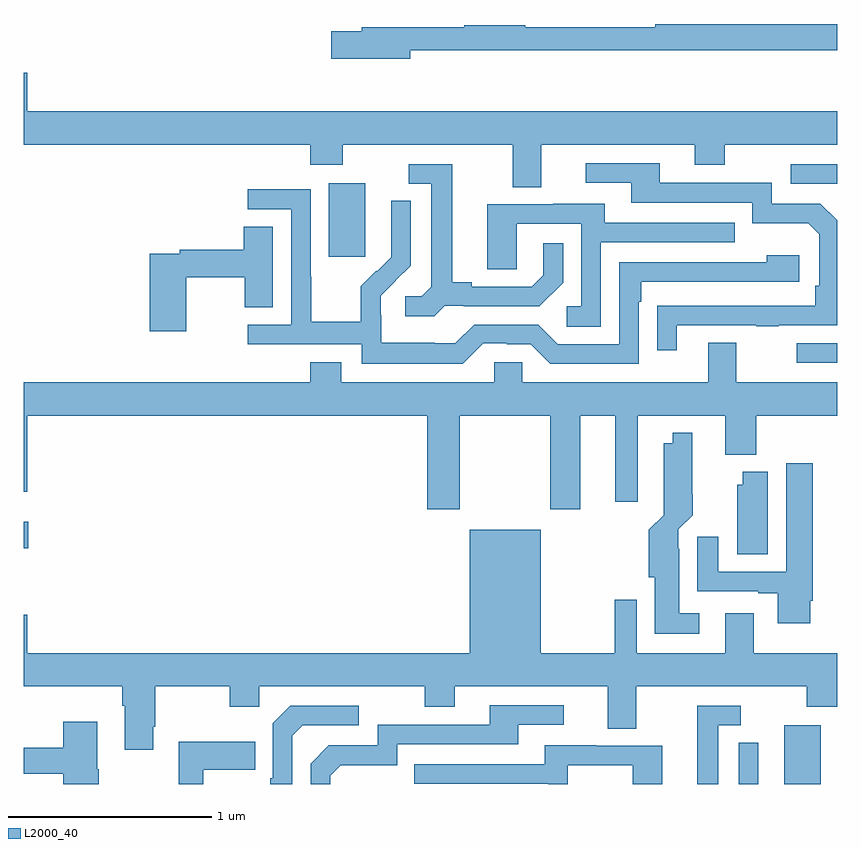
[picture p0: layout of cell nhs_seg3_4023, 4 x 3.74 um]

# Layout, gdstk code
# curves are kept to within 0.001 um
import gdstk
lib = gdstk.Library(unit=1e-6, precision=1e-09)
def R(c, l, rs):  # rectangles x0, y0, x1, y1
    for r in rs: c.add(gdstk.rectangle(r[:2], r[2:], *l))
def P(c, l, *ps):  # polygons
    for p in ps: c.add(gdstk.Polygon(p, *l))
L2000_40 = (2000, 40)

nhs_seg3_4023 = lib.new_cell('nhs_seg3_4023')
R(nhs_seg3_4023, L2000_40, [(324.74,736.4,324.919,736.69), (321,737.56,321.022,737.689), (324.801,738.471,325,738.567), (322.499,738.993,322.678,739.354), (324.771,739.353,325,739.449)])
P(nhs_seg3_4023, L2000_40, [(322.9,740.01),(325,740.01),(325,740.138),(324.106,740.138),(324.106,740.123),(323.465,740.123),(323.465,740.131),(323.165,740.131),(323.165,740.123),(322.661,740.123),(322.661,740.102),(322.512,740.102),(322.512,739.967),(322.9,739.967)],
  [(323.545,739.544),(324.299,739.544),(324.299,739.445),(324.447,739.445),(324.447,739.544),(325,739.544),(325,739.708),(321.016,739.708),(321.016,739.897),(321,739.897),(321,739.544),(322.409,739.544),(322.409,739.445),(322.569,739.445),(322.569,739.544),(323.405,739.544),(323.405,739.336),(323.545,739.336)],
  [(324.211,738.657),(324.601,738.657),(324.601,738.652),(324.713,738.652),(324.713,738.657),(325,738.657),(325,739.172),(324.918,739.254),(324.678,739.254),(324.678,739.356),(324.127,739.356),(324.127,739.452),(323.763,739.452),(323.763,739.356),(323.987,739.356),(323.987,739.26),(324.582,739.26),(324.582,739.157),(324.859,739.157),(324.912,739.104),(324.912,738.85),(324.892,738.85),(324.892,738.753),(324.115,738.752),(324.115,738.534),(324.211,738.534)],
  [(323.07,738.753),(323.164,738.753),(323.164,738.75),(323.536,738.75),(323.652,738.866),(323.652,739.06),(323.555,739.06),(323.555,738.903),(323.498,738.846),(323.203,738.846),(323.203,738.869),(323.107,738.869),(323.107,739.449),(322.893,739.449),(322.893,739.353),(323.003,739.353),(323.003,738.845),(322.956,738.798),(322.875,738.798),(322.875,738.701),(323.018,738.701)],
  [(323.259,738.567),(323.375,738.567),(323.375,738.564),(323.493,738.564),(323.589,738.468),(324.024,738.468),(324.024,738.773),(324.037,738.773),(324.037,738.87),(324.814,738.87),(324.814,739),(324.653,739),(324.653,738.966),(323.928,738.966),(323.928,738.564),(323.625,738.564),(323.529,738.66),(323.214,738.66),(323.121,738.567),(323.021,738.567),(323.021,738.571),(322.758,738.571),(322.758,738.705),(322.756,738.705),(322.756,738.802),(322.902,738.95),(322.902,739.268),(322.806,739.268),(322.806,739.114),(322.808,739.114),(322.808,738.992),(322.737,738.921),(322.734,738.924),(322.657,738.847),(322.657,738.673),(322.413,738.673),(322.413,738.896),(322.41,738.896),(322.41,739.326),(322.101,739.326),(322.101,739.227),(322.314,739.227),(322.314,738.66),(322.101,738.66),(322.101,738.564),(322.662,738.564),(322.662,738.467),(323.159,738.467)],
  [(323.838,739.065),(324.497,739.065),(324.497,739.161),(323.857,739.161),(323.857,739.255),(323.603,739.255),(323.603,739.251),(323.279,739.251),(323.279,738.931),(323.424,738.931),(323.424,739.155),(323.742,739.155),(323.742,738.75),(323.67,738.75),(323.67,738.649),(323.838,738.649)],
  [(321.798,738.892),(322.087,738.892),(322.087,738.745),(322.225,738.745),(322.225,739.142),(322.082,739.142),(322.082,739.028),(321.766,739.028),(321.766,739.008),(321.62,739.008),(321.62,738.627),(321.798,738.627)],
  [(323.145,738.212),(323.59,738.212),(323.59,737.751),(323.737,737.751),(323.737,738.212),(323.909,738.212),(323.909,737.787),(324.019,737.787),(324.019,738.212),(324.449,738.212),(324.449,738.02),(324.602,738.02),(324.602,738.212),(325,738.212),(325,738.376),(324.505,738.376),(324.505,738.571),(324.365,738.571),(324.365,738.376),(323.451,738.376),(323.451,738.474),(323.313,738.474),(323.313,738.376),(322.561,738.376),(322.561,738.475),(322.409,738.475),(322.409,738.376),(321,738.376),(321,737.838),(321.016,737.838),(321.016,738.212),(322.985,738.212),(322.985,737.751),(323.145,737.751)],
  [(324.322,737.239),(324.223,737.239),(324.223,737.558),(324.219,737.558),(324.219,737.652),(324.289,737.722),(324.288,738.127),(324.191,738.127),(324.191,738.076),(324.146,738.076),(324.146,737.722),(324.074,737.65),(324.074,737.418),(324.104,737.418),(324.104,737.138),(324.322,737.138)],
  [(324.868,737.302),(324.881,737.302),(324.881,737.977),(324.749,737.977),(324.749,737.445),(324.415,737.445),(324.415,737.617),(324.311,737.617),(324.311,737.349),(324.611,737.349),(324.611,737.337),(324.707,737.337),(324.707,737.19),(324.868,737.19)],
  [(324.658,737.935),(324.536,737.935),(324.536,737.871),(324.509,737.871),(324.509,737.53),(324.658,737.53)],
  [(323.907,737.044),(323.542,737.044),(323.542,737.65),(323.192,737.65),(323.192,737.044),(321.016,737.044),(321.016,737.233),(321,737.233),(321,736.88),(321.485,736.88),(321.485,736.784),(321.497,736.784),(321.497,736.569),(321.637,736.569),(321.637,736.681),(321.645,736.681),(321.645,736.88),(322.012,736.88),(322.012,736.781),(322.158,736.781),(322.158,736.88),(322.972,736.88),(322.972,736.781),(323.119,736.781),(323.119,736.88),(323.873,736.88),(323.873,736.672),(324.013,736.672),(324.013,736.88),(324.85,736.88),(324.85,736.781),(325,736.781),(325,737.044),(324.589,737.044),(324.589,737.239),(324.449,737.239),(324.449,737.044),(324.015,737.044),(324.015,737.305),(323.907,737.305)],
  [(322.506,736.44),(322.559,736.493),(322.836,736.493),(322.836,736.596),(323.431,736.596),(323.431,736.692),(323.656,736.692),(323.656,736.788),(323.291,736.788),(323.291,736.692),(322.74,736.692),(322.74,736.59),(322.5,736.59),(322.41,736.5),(322.41,736.4),(322.506,736.4)],
  [(324.415,736.689),(324.526,736.689),(324.526,736.785),(324.311,736.785),(324.311,736.4),(324.415,736.4)],
  [(322.32,736.638),(322.371,736.689),(322.648,736.689),(322.648,736.785),(322.311,736.785),(322.224,736.698),(322.224,736.429),(322.212,736.429),(322.212,736.4),(322.32,736.4)],
  [(321.369,736.473),(321.361,736.473),(321.361,736.705),(321.194,736.705),(321.194,736.579),(321,736.579),(321,736.45),(321.194,736.45),(321.194,736.4),(321.369,736.4)],
  [(321.883,736.469),(322.139,736.469),(322.139,736.609),(321.762,736.609),(321.762,736.4),(321.883,736.4)],
  [(324.611,736.45),(324.612,736.45),(324.612,736.604),(324.516,736.604),(324.516,736.4),(324.611,736.4)],
  [(323.676,736.491),(323.994,736.491),(323.994,736.4),(324.139,736.4),(324.139,736.587),(323.815,736.587),(323.815,736.591),(323.561,736.591),(323.561,736.497),(322.921,736.497),(322.921,736.401),(323.58,736.401),(323.58,736.4),(323.676,736.4)])

lib.write_gds('nhs_seg3_4023.gds')
